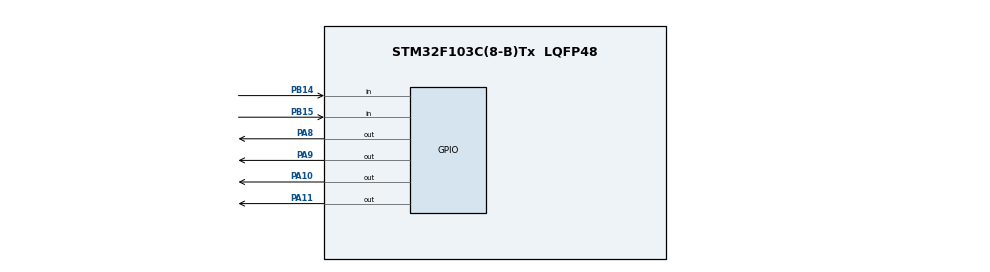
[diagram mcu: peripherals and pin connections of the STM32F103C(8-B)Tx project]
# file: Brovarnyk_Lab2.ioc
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Mcu.Family=STM32F1
Mcu.Name=STM32F103C(8-B)Tx
Mcu.Package=LQFP48
NVIC.PriorityGroup=NVIC_PRIORITYGROUP_4
PA10.Signal=GPIO_Output
PA11.Signal=GPIO_Output
PA8.Signal=GPIO_Output
PA9.Signal=GPIO_Output
PB14.Signal=GPIO_Input
PB15.Signal=GPIO_Input
ProjectManager.HeapSize=0x200
ProjectManager.StackSize=0x400
ProjectManager.TargetToolchain=STM32CubeIDE
RCC.APB1Freq_Value=8000000
RCC.APB2Freq_Value=8000000
VP_SYS_VS_ND.Mode=No_Debug
board=custom

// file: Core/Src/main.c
/* USER CODE BEGIN Header */
/**
  ******************************************************************************
  * @file           : main.c
  * @brief          : Main program body
  ******************************************************************************
  * @attention
  *
  * Copyright (c) 2022 STMicroelectronics.
  * All rights reserved.
  *
  * This software is licensed under terms that can be found in the LICENSE file
  * in the root directory of this software component.
  * If no LICENSE file comes with this software, it is provided AS-IS.
  *
  ******************************************************************************
  */
/* USER CODE END Header */
#include "main.h"

void SystemClock_Config(void);
static void MX_GPIO_Init(void);

int main(void)
{

  /* MCU Configuration--------------------------------------------------------*/

  /* Reset of all peripherals, Initializes the Flash interface and the Systick. */
  HAL_Init();

  /* Configure the system clock */
  SystemClock_Config();

  /* Initialize all configured peripherals */
  MX_GPIO_Init();
  /* USER CODE BEGIN 2 */
  int i = GPIO_PIN_8;
  HAL_GPIO_WritePin(GPIOA, GPIO_PIN_8, GPIO_PIN_SET);
  HAL_GPIO_WritePin(GPIOA, GPIO_PIN_9, GPIO_PIN_SET);
  HAL_GPIO_WritePin(GPIOA, GPIO_PIN_10, GPIO_PIN_SET);
  HAL_GPIO_WritePin(GPIOA, GPIO_PIN_11, GPIO_PIN_SET);
  /* USER CODE END 2 */

  /* Infinite loop */
  /* USER CODE BEGIN WHILE */
  while (1)
  {
	  if(HAL_GPIO_ReadPin(GPIOB, GPIO_PIN_15) == GPIO_PIN_SET)
	  {
		  if(i <= GPIO_PIN_11)
		  {
			  HAL_GPIO_WritePin(GPIOA, i, GPIO_PIN_RESET);
			  if(i > GPIO_PIN_8) HAL_GPIO_WritePin(GPIOA, i >> 1, GPIO_PIN_SET);
			  i = i << 1;
		  }
		  else
		  {
			  HAL_GPIO_WritePin(GPIOA, GPIO_PIN_11, GPIO_PIN_SET);
			  HAL_GPIO_WritePin(GPIOA, GPIO_PIN_8, GPIO_PIN_RESET);
			  i = GPIO_PIN_9;
		  }
	  }
	  if(HAL_GPIO_ReadPin(GPIOB, GPIO_PIN_14) == GPIO_PIN_SET)
	  {
		  if(i <= GPIO_PIN_11)
		  {
			  HAL_GPIO_WritePin(GPIOA, i, GPIO_PIN_RESET);
			  i = i << 1;
		  }
		  else
		  {
			  for(int k = GPIO_PIN_8; k <= GPIO_PIN_11; k = k << 1)
			  {
				  HAL_GPIO_WritePin(GPIOA, k, GPIO_PIN_SET);
			  }
			  i = GPIO_PIN_8;
		  }
	  }
	  HAL_Delay(500);
    /* USER CODE END WHILE */

  }
}

void SystemClock_Config(void)
{
  RCC_OscInitTypeDef RCC_OscInitStruct = {0};
  RCC_ClkInitTypeDef RCC_ClkInitStruct = {0};

  /** Initializes the RCC Oscillators according to the specified parameters
  * in the RCC_OscInitTypeDef structure.
  */
  RCC_OscInitStruct.OscillatorType = RCC_OSCILLATORTYPE_HSI;
  RCC_OscInitStruct.HSIState = RCC_HSI_ON;
  RCC_OscInitStruct.HSICalibrationValue = RCC_HSICALIBRATION_DEFAULT;
  RCC_OscInitStruct.PLL.PLLState = RCC_PLL_NONE;
  if (HAL_RCC_OscConfig(&RCC_OscInitStruct) != HAL_OK)
  {
    Error_Handler();
  }
  /** Initializes the CPU, AHB and APB buses clocks
  */
  RCC_ClkInitStruct.ClockType = RCC_CLOCKTYPE_HCLK|RCC_CLOCKTYPE_SYSCLK
                              |RCC_CLOCKTYPE_PCLK1|RCC_CLOCKTYPE_PCLK2;
  RCC_ClkInitStruct.SYSCLKSource = RCC_SYSCLKSOURCE_HSI;
  RCC_ClkInitStruct.AHBCLKDivider = RCC_SYSCLK_DIV1;
  RCC_ClkInitStruct.APB1CLKDivider = RCC_HCLK_DIV1;
  RCC_ClkInitStruct.APB2CLKDivider = RCC_HCLK_DIV1;

  if (HAL_RCC_ClockConfig(&RCC_ClkInitStruct, FLASH_LATENCY_0) != HAL_OK)
  {
    Error_Handler();
  }
}

static void MX_GPIO_Init(void)
{
  GPIO_InitTypeDef GPIO_InitStruct = {0};

  /* GPIO Ports Clock Enable */
  __HAL_RCC_GPIOB_CLK_ENABLE();
  __HAL_RCC_GPIOA_CLK_ENABLE();

  /*Configure GPIO pin Output Level */
  HAL_GPIO_WritePin(GPIOA, GPIO_PIN_8|GPIO_PIN_9|GPIO_PIN_10|GPIO_PIN_11, GPIO_PIN_RESET);

  /*Configure GPIO pins : PB14 PB15 */
  GPIO_InitStruct.Pin = GPIO_PIN_14|GPIO_PIN_15;
  GPIO_InitStruct.Mode = GPIO_MODE_INPUT;
  GPIO_InitStruct.Pull = GPIO_NOPULL;
  HAL_GPIO_Init(GPIOB, &GPIO_InitStruct);

  /*Configure GPIO pins : PA8 PA9 PA10 PA11 */
  GPIO_InitStruct.Pin = GPIO_PIN_8|GPIO_PIN_9|GPIO_PIN_10|GPIO_PIN_11;
  GPIO_InitStruct.Mode = GPIO_MODE_OUTPUT_PP;
  GPIO_InitStruct.Pull = GPIO_NOPULL;
  GPIO_InitStruct.Speed = GPIO_SPEED_FREQ_LOW;
  HAL_GPIO_Init(GPIOA, &GPIO_InitStruct);

}

void Error_Handler(void)
{
  __disable_irq();
  while (1)
  {
  }
}
